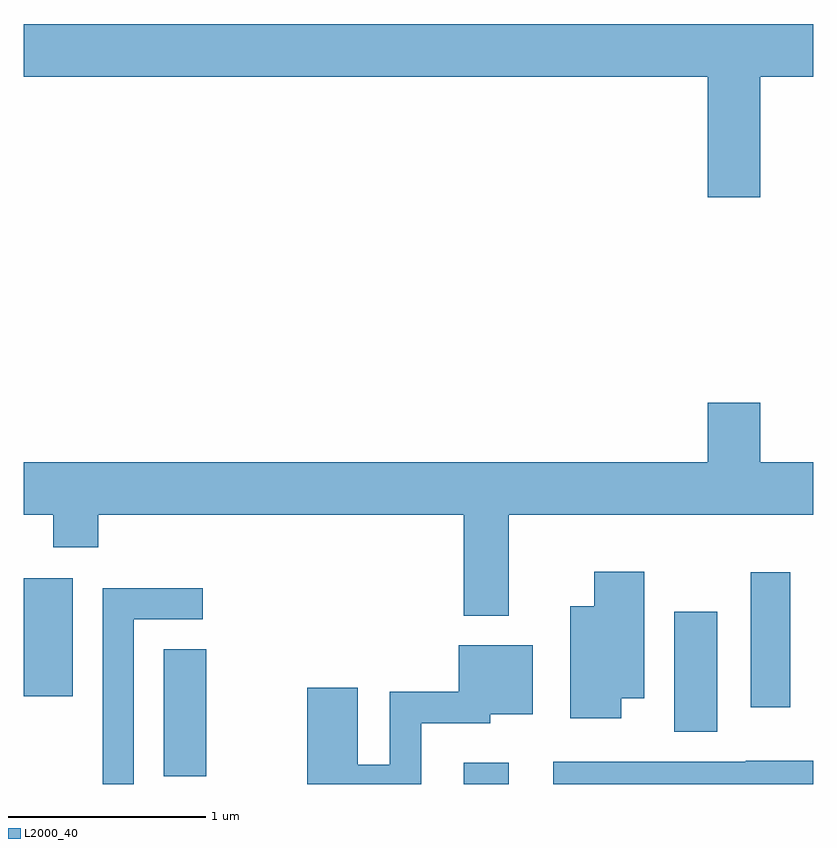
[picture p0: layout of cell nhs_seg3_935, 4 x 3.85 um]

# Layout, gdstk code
import gdstk
lib = gdstk.Library(unit=1e-6, precision=1e-09)
def R(c, l, rs):  # rectangles x0, y0, x1, y1
    for r in rs: c.add(gdstk.rectangle(r[:2], r[2:], *l))
def P(c, l, *ps):  # polygons
    for p in ps: c.add(gdstk.Polygon(p, *l))
L2000_40 = (2000, 40)

nhs_seg3_935 = lib.new_cell('nhs_seg3_935')
R(nhs_seg3_935, L2000_40, [(213.841,1217.892,214.069,1217.999), (212.321,1217.931,212.534,1218.574), (214.906,1218.156,215.124,1218.764), (215.296,1218.281,215.494,1218.964), (211.611,1218.336,211.859,1218.934)])
P(nhs_seg3_935, L2000_40, [(215.344,1221.476),(215.611,1221.476),(215.611,1221.744),(211.611,1221.744),(211.611,1221.476),(215.076,1221.476),(215.076,1220.866),(215.344,1220.866)],
  [(214.069,1219.256),(215.611,1219.256),(215.611,1219.524),(215.344,1219.524),(215.344,1219.824),(215.076,1219.824),(215.076,1219.524),(211.611,1219.524),(211.611,1219.256),(211.761,1219.256),(211.761,1219.091),(211.989,1219.091),(211.989,1219.256),(213.841,1219.256),(213.841,1218.746),(214.069,1218.746)],
  [(214.639,1218.326),(214.754,1218.326),(214.754,1218.969),(214.501,1218.969),(214.501,1218.794),(214.381,1218.794),(214.381,1218.226),(214.639,1218.226)],
  [(212.169,1218.726),(212.518,1218.726),(212.518,1218.884),(212.011,1218.884),(212.011,1217.892),(212.169,1217.892)],
  [(213.624,1218.201),(213.974,1218.201),(213.974,1218.246),(214.189,1218.246),(214.189,1218.594),(213.816,1218.594),(213.816,1218.359),(213.466,1218.359),(213.466,1217.989),(213.304,1217.989),(213.304,1218.379),(213.046,1218.379),(213.046,1217.892),(213.624,1217.892)],
  [(215.611,1218.009),(215.27,1218.009),(215.27,1218.004),(214.293,1218.004),(214.293,1217.892),(215.611,1217.892)])

lib.write_gds('nhs_seg3_935.gds')
